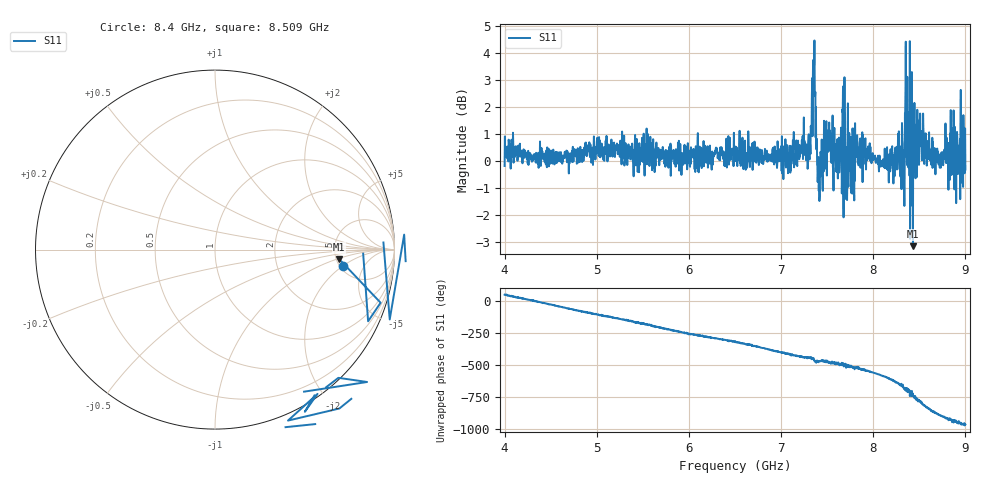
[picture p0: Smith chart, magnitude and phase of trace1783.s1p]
! Created with skrf 1.8.0 (http://scikit-rf.org).
# Hz S RI R 50.0
!freq ReS11 ImS11
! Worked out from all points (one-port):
!   1601 points, 4 GHz to 9 GHz, reference 50 ohm
!   lowest |S11| = -3.2 dB at 8.431 GHz (marker M1), VSWR 5.55, Z = 266 - j55.2 ohm
!   |S11| at or under -10 dB: nowhere
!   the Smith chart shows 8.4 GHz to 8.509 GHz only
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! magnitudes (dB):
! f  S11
! 4 GHz  -0.2
! 4.094 GHz  0.6
! 4.625 GHz  -0.1
! 5.25 GHz  0.2
! 5.875 GHz  0.0
! 6.5 GHz  0.3
! 7.125 GHz  0.3
! 7.294 GHz  0.6
! 7.353 GHz  3.2
! 7.369 GHz  2.4
! 7.4 GHz  -0.5
! 7.412 GHz  -0.6
! 7.438 GHz  -0.5
! 7.509 GHz  0.3
! 7.591 GHz  0.3
! 7.669 GHz  1.8
! 7.722 GHz  0.6
! 7.75 GHz  0.2
! 8.294 GHz  -0.3
! 8.316 GHz  0.8
! 8.331 GHz  -1.1
! 8.375 GHz  1.2
! 8.406 GHz  0.5
! 8.431 GHz  -3.2
! 8.525 GHz  0.3
! 8.734 GHz  -0.2
! 8.972 GHz  0.4
! 9 GHz  -0.3
